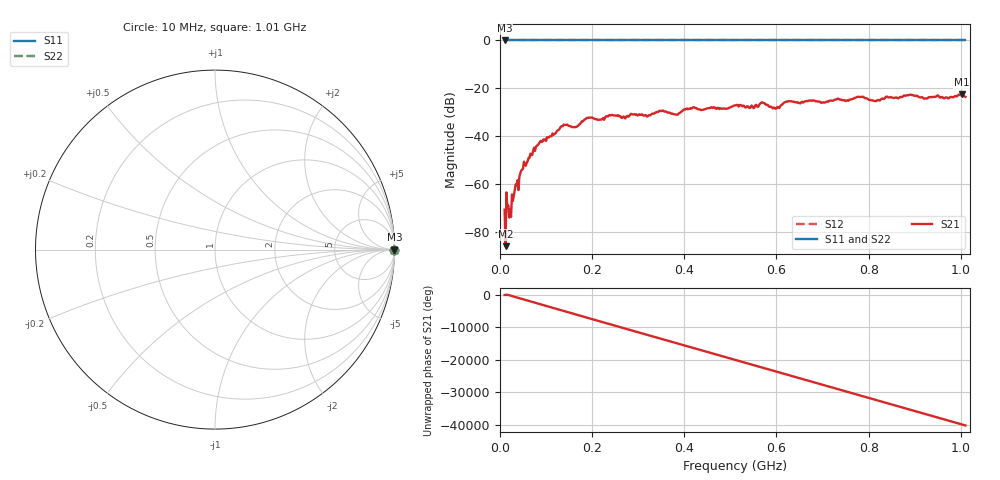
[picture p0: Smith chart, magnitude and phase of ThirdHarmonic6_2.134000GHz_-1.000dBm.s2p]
! 8/17/2025 1:30:03 AM
! C:\ANRITSUVNA\TEMP\TEMP.S2P
! CHANNEL.1
! TR.MEASUREMENT
! RAW.DATA
! RF.CORRECTION.OFF
! AVERAGING.OFF
! IF.BANDWIDTH: 5KHZ
! SWEEPTYPE:  FREQ.SWEEP(Linear)
! Reference Plane Port Info
! PORT:  PORT1  PORT2
! DISTANCE:  0  m  0  m
! TIME:  0  s  0  s
! PHASE.OFFSET:  0  deg.  0  deg.
! LOSS:  0  dB  0  dB
! REF.LOSS:  0  dB  0  dB
! REF.FREQ:  0  Hz  0  Hz
! Power Info
! POWER:  -20  dBm  -20  dBm
! EFF.POWER:  -20  dBm  -20  dBm
! SOURCE.ATTEN:  0  dB  0  dB
! TEST.ATTEN:  0  dB  0  dB
# GHZ S RI R 50.0
! FREQ.GHZ  S11RE  S11IM  S21RE  S21IM  S12RE  S12IM  S22RE  S22IM
!; PortSelection: Port_12
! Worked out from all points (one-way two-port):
!   501 points, 10 MHz to 1.01 GHz, reference 50 ohm
!   highest |S21| = -22.49 dB at 1.002 GHz (marker M1); lowest = -86.0 dB at 12 MHz (marker M2)
!   lowest |S11| = 0.0 dB at 10 MHz (marker M3)
!   |S11| at or under -10 dB: nowhere
!   |S22| runs from 0.0 to 0.0 dB; largest |S21 - S12| = 1.1
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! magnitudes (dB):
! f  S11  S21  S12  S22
! 10 MHz  0.0  -70.7  0.0  0.0
! 12 MHz  0.0  -86.0  0.0  0.0
! 24 MHz  0.0  -73.8  0.0  0.0
! 30 MHz  0.0  -64.7  0.0  0.0
! 48 MHz  0.0  -54.0  0.0  0.0
! 84 MHz  0.0  -43.3  0.0  0.0
! 136 MHz  0.0  -35.9  0.0  0.0
! 164 MHz  0.0  -36.2  0.0  0.0
! 178 MHz  0.0  -33.7  0.0  0.0
! 192 MHz  0.0  -32.4  0.0  0.0
! 344 MHz  0.0  -29.8  0.0  0.0
! 382 MHz  0.0  -30.9  0.0  0.0
! 418 MHz  0.0  -28.2  0.0  0.0
! 510 MHz  0.0  -27.2  0.0  0.0
! 548 MHz  0.0  -27.5  0.0  0.0
! 570 MHz  0.0  -25.9  0.0  0.0
! 596 MHz  0.0  -28.2  0.0  0.0
! 624 MHz  0.0  -25.6  0.0  0.0
! 678 MHz  0.0  -25.1  0.0  0.0
! 844 MHz  0.0  -23.8  0.0  0.0
! 1.002 GHz  0.0  -22.5  0.0  0.0
! 1.01 GHz  0.0  -23.6  0.0  0.0
